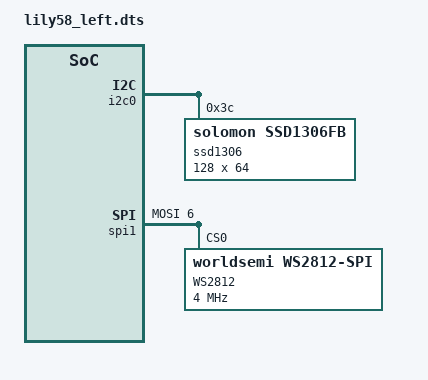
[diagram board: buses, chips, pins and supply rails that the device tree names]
/dts-v1/;

/ {
    chosen {
        zmk,display-left = &ssd1306;
        zmk,underglow = &led_strip;
    };
};

&i2c0 {
    status = "okay";
    ssd1306: ssd1306@3c {
        compatible = "solomon,ssd1306fb";
        reg = <0x3c>;
        width = <128>;
        height = <64>;
        segment-remap;
        prechargep = <0x22>;
        com-invdir;
        com-seq;
        vcomh = <0x20>;
    };
};

&spi1 {
    compatible = "nordic,nrf-spim";
    status = "okay";
    mosi-pin = <6>;
    
    led_strip: ws2812@0 {
        compatible = "worldsemi,ws2812-spi";
        label = "WS2812";
        
        reg = <0>;
        spi-max-frequency = <4000000>;
        
        chain-length = <29>;
        spi-one-frame = <0x70>;
        spi-zero-frame = <0x40>;
        color-mapping = <LED_COLOR_ID_GREEN LED_COLOR_ID_RED LED_COLOR_ID_BLUE>;
    };
};
